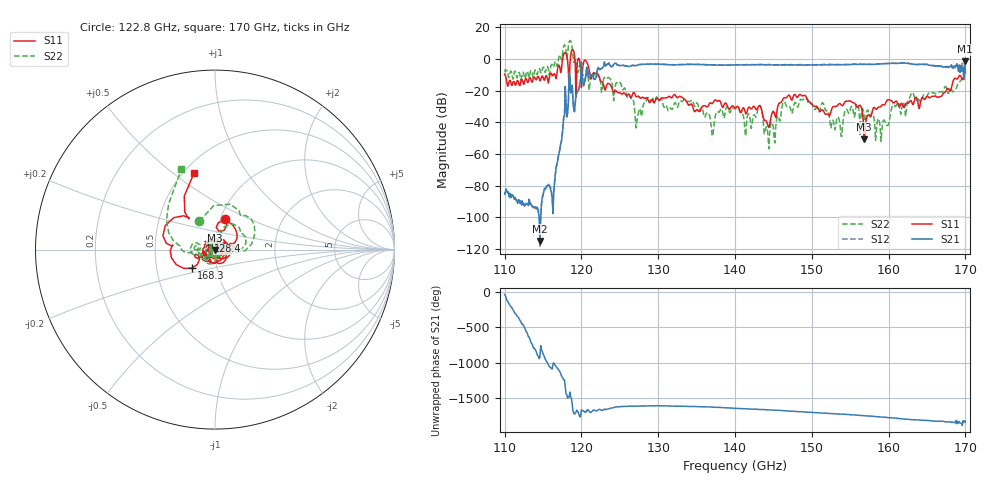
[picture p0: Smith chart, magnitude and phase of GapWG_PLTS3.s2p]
!Keysight Technologies PLTS 2023U1(64 bit), Build 20230630.1
!Deembedding/AFR applied
!FILE: C:\Users\jaha\OneDrive - Nokia\Project\Deacon_v3\Measure\250307 MPW12 GapWG\GapWG_Line3.s2p
!$DUT_CFG_DESC: Default 2-Port Configuration
!$NUMBER_PORTS: 2
!$DIFF_PORT_MAP: 1|1P|2|1P|
!$PORT_MAP: 1|1|<<<<<<|2|2|>>>>>>|
!Date: Thursday, March 20, 2025, 10:14:04
!S2P File: Measurements: S11,S21,S12,S22:
# MHz S  RI  R 50
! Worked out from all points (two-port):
!   601 points, 110 GHz to 170 GHz, reference 50 ohm
!   highest |S21| = -1.48 dB at 169.9 GHz (marker M1); lowest = -114.8 dB at 114.6 GHz (marker M2)
!   |S21| within 3 dB of the highest: 124 GHz to 126 GHz (1.966 GHz wide, 1.57 % of centre); 126.4 GHz to 166 GHz (39.6 GHz wide, 27.1 % of centre)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
!   lowest |S11| = -50.8 dB at 156.8 GHz (marker M3), VSWR 1.01, Z = 49.7 - j0.131 ohm
!   |S11| at or under -10 dB: 110.1 GHz to 115.9 GHz (5.83 GHz wide, 5.16 % of centre); 121.1316 GHz to 121.4389 GHz (307.3 MHz wide, 0.253 % of centre); 122.2 GHz to 169.9 GHz (47.64 GHz wide, 32.6 % of centre)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
!   |S22| runs from -56.8 to 11.8 dB; largest |S21 - S12| = 0.52
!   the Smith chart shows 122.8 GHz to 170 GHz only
!   S11 on the Smith chart (normalised r, x): 122.8 GHz: 1.05, +0.37; 128.4 GHz: 0.92, +0.09; 168.3 GHz: 0.75, -0.16; 170 GHz: 0.56, +0.60
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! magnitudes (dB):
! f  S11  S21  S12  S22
! 110 GHz  -9.5  -85.4  -85.1  -6.4
! 114.6 GHz  -13.7  -114.8  -118.9  -6.6
! 116.3 GHz  -10.5  -97.7  -94.2  -5.0
! 118.2 GHz  -0.8  -34.0  -33.8  3.1
! 120 GHz  -17.9  -2.0  -1.9  -6.5
! 122.8 GHz  -14.9  -5.0  -4.9  -14.9
! 127.2 GHz  -23.9  -4.2  -4.0  -39.7
! 128.4 GHz  -24.5  -3.2  -3.2  -27.2
! 130 GHz  -25.5  -3.2  -3.0  -25.7
! 137.1 GHz  -27.9  -3.6  -3.5  -48.7
! 140 GHz  -31.0  -3.7  -3.6  -31.3
! 143.3 GHz  -29.7  -3.5  -3.4  -29.7
! 144.2 GHz  -40.5  -3.6  -3.4  -44.0
! 146.4 GHz  -24.3  -3.7  -3.4  -26.9
! 150 GHz  -28.3  -3.7  -3.6  -28.1
! 153.8 GHz  -28.6  -3.6  -3.3  -48.5
! 155.1 GHz  -26.7  -3.5  -3.3  -30.4
! 156.8 GHz  -50.8  -3.4  -3.1  -35.5
! 160 GHz  -25.6  -2.8  -2.7  -41.1
! 168.3 GHz  -15.6  -5.5  -5.3  -20.5
! 169.9 GHz  -9.3  -1.5  -6.6  -7.7
! 170 GHz  -7.1  -8.6  -8.7  -6.3
